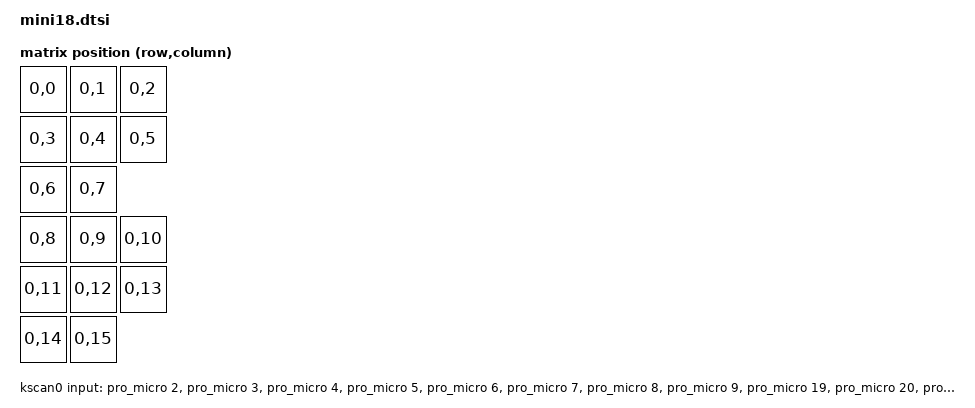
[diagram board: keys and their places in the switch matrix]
#include <dt-bindings/zmk/matrix_transform.h>
/ {
    chosen {
        zmk,kscan = &kscan0;
        zmk,matrix_transform = &default_transform;
    };
    default_transform: keymap_transform_0 {
        compatible = "zmk,matrix-transform";
        columns = <16>;
        rows = <1>;
        map = <
            // Left half
            RC(0,0) RC(0,1) RC(0,2)     // Top row
            RC(0,3) RC(0,4) RC(0,5)     // Middle row
            RC(0,6) RC(0,7)             // Bottom row

            // Right half
            RC(0,8) RC(0,9) RC(0,10)    // Top row
            RC(0,11) RC(0,12) RC(0,13)  // Middle row
            RC(0,14) RC(0,15)           // Bottom row
        >;
    };
    kscan0: kscan {
        compatible = "zmk,kscan-gpio-direct";
        label = "KSCAN";
        input-gpios
            // Left half
            = <&pro_micro 2 (GPIO_ACTIVE_HIGH | GPIO_PULL_UP)>
            , <&pro_micro 3 (GPIO_ACTIVE_HIGH | GPIO_PULL_UP)>
            , <&pro_micro 4 (GPIO_ACTIVE_HIGH | GPIO_PULL_UP)>
            , <&pro_micro 5 (GPIO_ACTIVE_HIGH | GPIO_PULL_UP)>
            , <&pro_micro 6 (GPIO_ACTIVE_HIGH | GPIO_PULL_UP)>
            , <&pro_micro 7 (GPIO_ACTIVE_HIGH | GPIO_PULL_UP)>
            , <&pro_micro 8 (GPIO_ACTIVE_HIGH | GPIO_PULL_UP)>
            , <&pro_micro 9 (GPIO_ACTIVE_HIGH | GPIO_PULL_UP)>
            // Right half
            , <&pro_micro 19 (GPIO_ACTIVE_HIGH | GPIO_PULL_UP)>
            , <&pro_micro 20 (GPIO_ACTIVE_HIGH | GPIO_PULL_UP)>
            , <&pro_micro 21 (GPIO_ACTIVE_HIGH | GPIO_PULL_UP)>
            , <&pro_micro 14 (GPIO_ACTIVE_HIGH | GPIO_PULL_UP)>
            , <&pro_micro 15 (GPIO_ACTIVE_HIGH | GPIO_PULL_UP)>
            , <&pro_micro 18 (GPIO_ACTIVE_HIGH | GPIO_PULL_UP)>
            , <&pro_micro 10 (GPIO_ACTIVE_HIGH | GPIO_PULL_UP)>
            , <&pro_micro 16 (GPIO_ACTIVE_HIGH | GPIO_PULL_UP)>
            ;
    };
};
